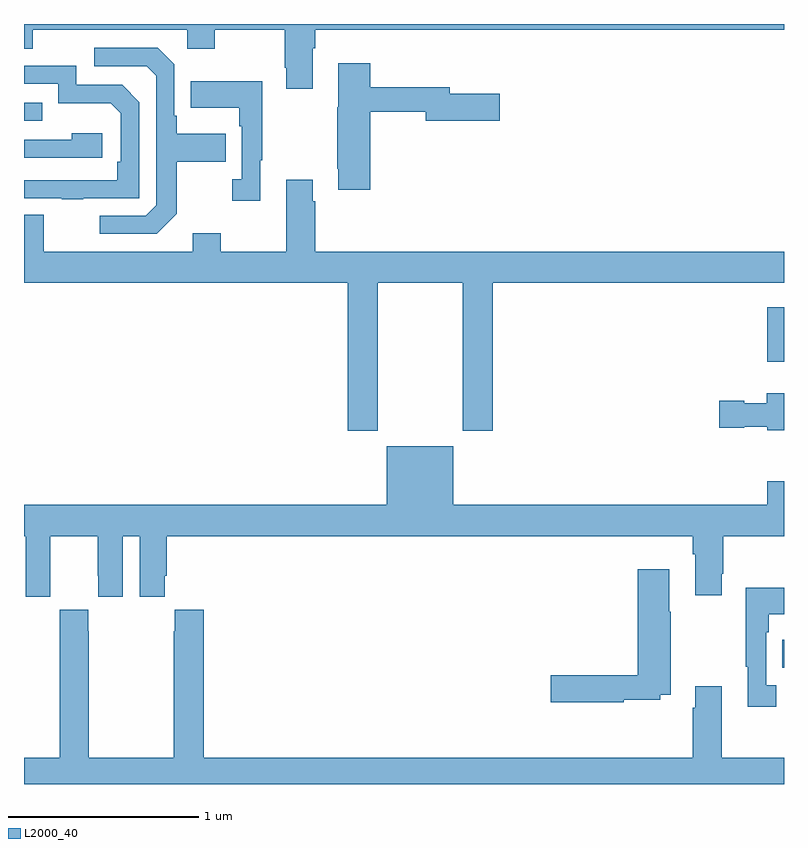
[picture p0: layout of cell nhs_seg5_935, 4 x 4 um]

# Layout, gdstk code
import gdstk
lib = gdstk.Library(unit=1e-6, precision=1e-09)
def R(c, l, rs):  # rectangles x0, y0, x1, y1
    for r in rs: c.add(gdstk.rectangle(r[:2], r[2:], *l))
def P(c, l, *ps):  # polygons
    for p in ps: c.add(gdstk.Polygon(p, *l))
L2000_40 = (2000, 40)

nhs_seg5_935 = lib.new_cell('nhs_seg5_935')
R(nhs_seg5_935, L2000_40, [(174.991,845.41,175,845.557), (174.911,847.022,175,847.309), (171,848.289,171.095,848.385)])
P(nhs_seg5_935, L2000_40, [(172.519,848.672),(172.532,848.672),(172.532,848.768),(175,848.768),(175,848.799),(171,848.799),(171,848.669),(171.045,848.669),(171.045,848.768),(171.858,848.768),(171.858,848.669),(172.005,848.669),(172.005,848.768),(172.372,848.768),(172.372,848.569),(172.379,848.569),(172.379,848.457),(172.519,848.457)],
  [(171.805,847.801),(171.805,848.074),(172.061,848.074),(172.061,848.221),(171.805,848.221),(171.805,848.317),(171.792,848.317),(171.792,848.586),(171.705,848.673),(171.369,848.673),(171.369,848.577),(171.645,848.577),(171.696,848.526),(171.696,847.845),(171.642,847.791),(171.399,847.791),(171.399,847.695),(171.699,847.695)],
  [(172.823,848.338),(173.114,848.338),(173.114,848.291),(173.503,848.291),(173.503,848.433),(173.242,848.433),(173.242,848.467),(172.823,848.467),(172.823,848.593),(172.655,848.593),(172.655,848.361),(172.648,848.361),(172.648,848.038),(172.655,848.038),(172.655,847.926),(172.823,847.926)],
  [(171.311,847.881),(171.606,847.881),(171.606,848.388),(171.516,848.478),(171.276,848.478),(171.276,848.58),(171,848.58),(171,848.484),(171.18,848.484),(171.18,848.381),(171.457,848.381),(171.51,848.328),(171.51,848.074),(171.49,848.074),(171.49,847.977),(171,847.977),(171,847.881),(171.199,847.881),(171.199,847.876),(171.311,847.876)],
  [(172.243,848.081),(172.255,848.081),(172.255,848.497),(171.877,848.497),(171.877,848.357),(172.134,848.357),(172.134,848.261),(172.146,848.261),(172.146,847.982),(172.095,847.982),(172.095,847.869),(172.243,847.869)],
  [(171.412,848.224),(171.251,848.224),(171.251,848.19),(171,848.19),(171,848.094),(171.412,848.094)],
  [(172.863,847.436),(173.308,847.436),(173.308,846.657),(173.468,846.657),(173.468,847.436),(175,847.436),(175,847.6),(172.532,847.6),(172.532,847.865),(172.519,847.865),(172.519,847.978),(172.379,847.978),(172.379,847.6),(172.035,847.6),(172.035,847.699),(171.887,847.699),(171.887,847.6),(171.103,847.6),(171.103,847.795),(171,847.795),(171,847.436),(172.703,847.436),(172.703,846.657),(172.863,846.657)],
  [(175,846.856),(174.908,846.856),(174.908,846.802),(174.792,846.802),(174.792,846.815),(174.66,846.815),(174.66,846.673),(174.792,846.673),(174.792,846.68),(174.912,846.68),(174.912,846.662),(175,846.662)],
  [(171.138,845.896),(171.139,845.896),(171.139,846.104),(171.389,846.104),(171.389,845.896),(171.39,845.896),(171.39,845.784),(171.52,845.784),(171.52,846.104),(171.608,846.104),(171.608,845.784),(171.742,845.784),(171.742,845.896),(171.752,845.896),(171.752,846.104),(174.521,846.104),(174.521,846.008),(174.533,846.008),(174.533,845.793),(174.673,845.793),(174.673,845.905),(174.681,845.905),(174.681,846.104),(175,846.104),(175,846.392),(174.911,846.392),(174.911,846.268),(173.26,846.268),(173.26,846.577),(172.91,846.577),(172.91,846.268),(171,846.268),(171,846.104),(171.008,846.104),(171.008,845.784),(171.138,845.784)],
  [(174.156,845.242),(174.348,845.242),(174.348,845.27),(174.405,845.27),(174.405,845.705),(174.397,845.705),(174.397,845.929),(174.23,845.929),(174.23,845.372),(173.772,845.372),(173.772,845.23),(174.156,845.23)],
  [(174.958,845.318),(174.906,845.318),(174.906,845.597),(174.919,845.597),(174.919,845.693),(175,845.693),(175,845.833),(174.798,845.833),(174.798,845.417),(174.809,845.417),(174.809,845.205),(174.958,845.205)],
  [(175,844.936),(174.673,844.936),(174.673,845.314),(174.533,845.314),(174.533,845.201),(174.521,845.201),(174.521,844.936),(171.947,844.936),(171.947,845.716),(171.793,845.716),(171.793,845.603),(171.787,845.603),(171.787,844.936),(171.342,844.936),(171.342,845.603),(171.339,845.603),(171.339,845.716),(171.189,845.716),(171.189,845.603),(171.187,845.603),(171.187,844.936),(171,844.936),(171,844.799),(175,844.799)])

lib.write_gds('nhs_seg5_935.gds')
